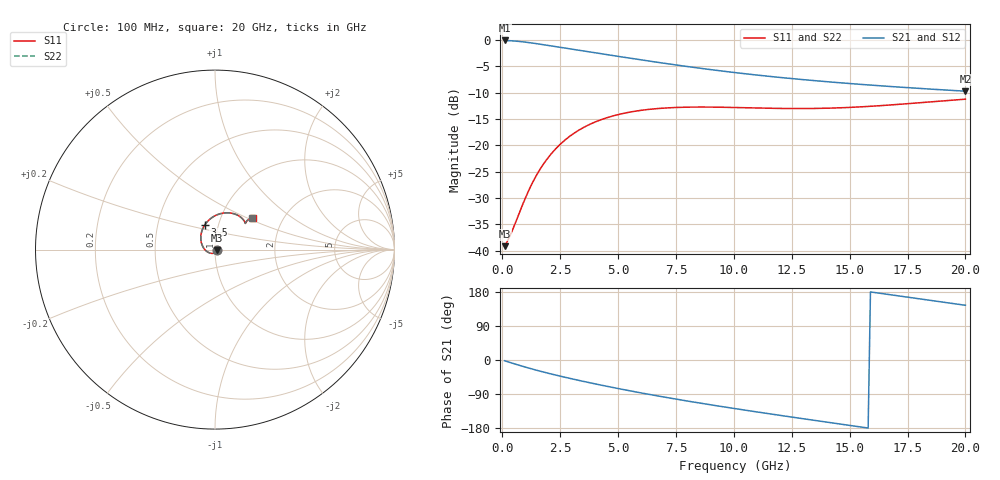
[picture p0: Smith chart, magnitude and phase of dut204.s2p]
! Touchstone file exported from HFSS 2024.1.0
!  File:  C:/UserFiles/LocalFiles/RDL_TSV_Batchsim/temp_RDL_TSV_204_1779444510.aedt
!  Generated:  06:20:57 PM May 22, 2026
!  Design:  RDL_TSV
!  Project:  temp_RDL_TSV_204_1779444510
!  Setup:  Setup1
!  Solution:  Sweep
! Variables:
!  dtsv = 12.99um
!  hbump = 3um
!  htsv = 77.73um
!  ldown = 491.76um
!  lrdl = 400.95um
!  p = 40
!  p1 = 48.91um
!  rhole = 10um
!  subl = 3079.08um
!  t = 450um
!  tdown = 4.23um
!  trdl = 4.74um
!  viad = 10um
!  wdown = 23.7um
!  wrdl = 24.81um
!  xbump = 18um
# GHz S MA R 50.000000
! Terminal data exported
! Port[1] = TM1_1_T1
! Port[2] = TM1_4_T1
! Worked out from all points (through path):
!   200 points, 100 MHz to 20 GHz, reference 50 ohm
!   highest |S21| = -0.10 dB at 100 MHz (marker M1); lowest = -9.7 dB at 20 GHz (marker M2)
!   group delay of S21, straight-line fit = 28.2 ps
!   lowest |S11| = -39.1 dB at 100 MHz (marker M3), VSWR 1.02, Z = 51.1 - j0.31 ohm
!   |S11| at or under -10 dB: start of sweep to end of sweep
!   |S22| runs from -39.1 to -11.2 dB; largest |S21 - S12| = 9e-15
!   S11 on the Smith chart (normalised r, x): 100 MHz: 1.02, -0.01; 3.5 GHz: 0.86, +0.24; 20 GHz: 1.41, +0.54
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0.1  0.01104 -16.0  0.9885 -2.0  0.9885 -2.0  0.01104 -16.0
! Gamma 0 0 0 0
! Port Impedance 50 0 50 0
0.4  0.01494 -69.0  0.981 -7.8  0.981 -7.8  0.01495 -69.0
0.9  0.02814 -131.6  0.9585 -17.1  0.9585 -17.1  0.02814 -131.6
1.2  0.03969 -156.5  0.9404 -22.3  0.9404 -22.3  0.03968 -156.5
1.4  0.04844 -169.8  0.9271 -25.7  0.9271 -25.7  0.04843 -169.8
1.7  0.06259 173.5  0.9063 -30.6  0.9063 -30.6  0.06257 173.5
2.1  0.08239 155.5  0.8783 -36.7  0.8783 -36.7  0.08235 155.5
2.5  0.1022 140.9  0.8507 -42.6  0.8507 -42.6  0.1021 140.9
3  0.1258 125.9  0.8174 -49.7  0.8174 -49.7  0.1257 125.9
3.5  0.1473 113.4  0.7857 -56.4  0.7857 -56.4  0.1472 113.4
4.2  0.1729 99.0  0.7436 -65.4  0.7436 -65.4  0.1728 99.0
5  0.1956 85.7  0.6986 -75.3  0.6986 -75.3  0.1955 85.8
5.9  0.2134 73.8  0.6517 -85.8  0.6517 -85.8  0.2131 73.9
6.8  0.2241 64.4  0.609 -95.8  0.609 -95.8  0.2238 64.4
8.4  0.2307 52.4  0.5437 -112.4  0.5437 -112.4  0.2304 52.4
10.1  0.2284 44.8  0.4883 -128.8  0.4883 -128.8  0.228 44.9
11.7  0.2244 41.5  0.4471 -143.5  0.4471 -143.5  0.224 41.7
13.4  0.2236 40.7  0.4123 -158.6  0.4123 -158.6  0.2234 41.0
15  0.2289 41.3  0.3857 -172.6  0.3857 -172.6  0.2289 41.6
16.7  0.2409 41.9  0.3623 172.7  0.3623 172.7  0.2412 42.2
18.4  0.2574 41.5  0.3424 158.1  0.3424 158.1  0.2579 41.8
20  0.2741 40.2  0.3263 144.4  0.3263 144.4  0.2749 40.5
